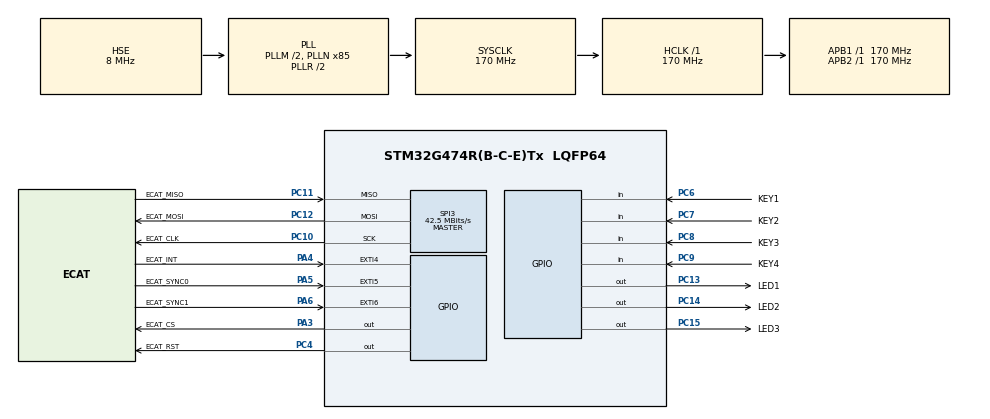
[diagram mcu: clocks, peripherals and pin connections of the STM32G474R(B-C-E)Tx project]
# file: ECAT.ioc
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Mcu.Family=STM32G4
Mcu.Name=STM32G474R(B-C-E)Tx
Mcu.Package=LQFP64
NVIC.EXTI4_IRQn=true\:2\:0\:true\:false\:true\:true\:true\:true
NVIC.EXTI9_5_IRQn=true\:2\:0\:true\:false\:true\:true\:true\:true
NVIC.PriorityGroup=NVIC_PRIORITYGROUP_2
NVIC.TIM7_DAC_IRQn=true\:1\:0\:true\:false\:true\:true\:true\:true
PA13.Mode=Serial_Wire
PA13.Signal=SYS_JTMS-SWDIO
PA14.Mode=Serial_Wire
PA14.Signal=SYS_JTCK-SWCLK
PA3.GPIO_Label=ECAT_CS
PA3.GPIO_PuPd=GPIO_PULLUP
PA3.GPIO_Speed=GPIO_SPEED_FREQ_VERY_HIGH
PA3.PinState=GPIO_PIN_SET
PA3.Signal=GPIO_Output
PA4.GPIO_Label=ECAT_INT
PA4.GPIO_ModeDefaultEXTI=GPIO_MODE_IT_FALLING
PA4.GPIO_PuPd=GPIO_PULLUP
PA4.Signal=GPXTI4
PA5.GPIO_Label=ECAT_SYNC0
PA5.GPIO_ModeDefaultEXTI=GPIO_MODE_IT_FALLING
PA5.GPIO_PuPd=GPIO_PULLUP
PA5.Signal=GPXTI5
PA6.GPIO_Label=ECAT_SYNC1
PA6.GPIO_ModeDefaultEXTI=GPIO_MODE_IT_FALLING
PA6.GPIO_PuPd=GPIO_PULLUP
PA6.Signal=GPXTI6
PC10.GPIO_Label=ECAT_CLK
PC10.GPIO_Speed=GPIO_SPEED_FREQ_VERY_HIGH
PC10.Mode=Full_Duplex_Master
PC10.Signal=SPI3_SCK
PC11.GPIO_Label=ECAT_MISO
PC11.GPIO_Speed=GPIO_SPEED_FREQ_VERY_HIGH
PC11.Mode=Full_Duplex_Master
PC11.Signal=SPI3_MISO
PC12.GPIO_Label=ECAT_MOSI
PC12.GPIO_Speed=GPIO_SPEED_FREQ_VERY_HIGH
PC12.Mode=Full_Duplex_Master
PC12.Signal=SPI3_MOSI
PC13.GPIO_Label=LED1
PC13.GPIO_ModeDefaultOutputPP=GPIO_MODE_OUTPUT_PP
PC13.Signal=GPIO_Output
PC14-OSC32_IN.GPIO_Label=LED2
PC14-OSC32_IN.Signal=GPIO_Output
PC15-OSC32_OUT.GPIO_Label=LED3
PC15-OSC32_OUT.Signal=GPIO_Output
PC4.GPIO_Label=ECAT_RST
PC4.GPIO_PuPd=GPIO_PULLUP
PC4.PinState=GPIO_PIN_SET
PC4.Signal=GPIO_Output
PC6.GPIO_Label=KEY1
PC6.GPIO_PuPd=GPIO_PULLUP
PC6.Signal=GPIO_Input
PC7.GPIO_Label=KEY2
PC7.GPIO_PuPd=GPIO_PULLUP
PC7.Signal=GPIO_Input
PC8.GPIO_Label=KEY3
PC8.GPIO_PuPd=GPIO_PULLUP
PC8.Signal=GPIO_Input
PC9.GPIO_Label=KEY4
PC9.GPIO_PuPd=GPIO_PULLUP
PC9.Signal=GPIO_Input
PF0-OSC_IN.Mode=HSE-External-Oscillator
PF0-OSC_IN.Signal=RCC_OSC_IN
PF1-OSC_OUT.Mode=HSE-External-Oscillator
PF1-OSC_OUT.Signal=RCC_OSC_OUT
ProjectManager.HeapSize=0x200
ProjectManager.StackSize=0x400
ProjectManager.TargetToolchain=MDK-ARM V5.32
RCC.ADC12Freq_Value=170000000
RCC.ADC345Freq_Value=170000000
RCC.AHBFreq_Value=170000000
RCC.APB1Freq_Value=170000000
RCC.APB1TimFreq_Value=170000000
RCC.APB2Freq_Value=170000000
RCC.APB2TimFreq_Value=170000000
RCC.CortexFreq_Value=170000000
RCC.EXTERNAL_CLOCK_VALUE=12288000
RCC.HCLKFreq_Value=170000000
RCC.HSE_VALUE=8000000
RCC.HSI48_VALUE=48000000
RCC.HSI_VALUE=16000000
RCC.LSE_VALUE=32768
RCC.PLLM=RCC_PLLM_DIV2
RCC.PLLN=85
RCC.PLLSourceVirtual=RCC_PLLSOURCE_HSE
RCC.SYSCLKFreq_VALUE=170000000
RCC.SYSCLKSource=RCC_SYSCLKSOURCE_PLLCLK
RCC.USBFreq_Value=170000000
RCC.VCOOutputFreq_Value=340000000
SPI3.BaudRatePrescaler=SPI_BAUDRATEPRESCALER_4
SPI3.CalculateBaudRate=42.5 MBits/s
SPI3.DataSize=SPI_DATASIZE_8BIT
SPI3.Direction=SPI_DIRECTION_2LINES
SPI3.Mode=SPI_MODE_MASTER
SPI3.VirtualType=VM_MASTER
TIM7.AutoReloadPreload=TIM_AUTORELOAD_PRELOAD_ENABLE
TIM7.PeriodNoDither=1000 - 1
TIM7.Prescaler=169
VP_SYS_VS_DBSignals.Mode=DisableDeadBatterySignals
VP_TIM7_VS_ClockSourceINT.Mode=Enable_Timer
board=custom

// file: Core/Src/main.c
/* USER CODE BEGIN Header */
/**
  ******************************************************************************
  * @file           : main.c
  * @brief          : Main program body
  ******************************************************************************
  * @attention
  *
  * Copyright (c) 2026 STMicroelectronics.
  * All rights reserved.
  *
  * This software is licensed under terms that can be found in the LICENSE file
  * in the root directory of this software component.
  * If no LICENSE file comes with this software, it is provided AS-IS.
  *
  ******************************************************************************
  */
/* USER CODE END Header */
#include "main.h"
#include "spi.h"
#include "tim.h"
#include "gpio.h"

/* USER CODE BEGIN Includes */
#include "applInterface.h"

/* USER CODE END Includes */

void SystemClock_Config(void);

int main(void)
{

  /* MCU Configuration--------------------------------------------------------*/

  /* Reset of all peripherals, Initializes the Flash interface and the Systick. */
  HAL_Init();

  /* Configure the system clock */
  SystemClock_Config();

  /* Initialize all configured peripherals */
  MX_GPIO_Init();
  MX_SPI3_Init();
  MX_TIM7_Init();
  /* USER CODE BEGIN 2 */
  /* Keep EtherCAT interrupts masked until the LAN9252 and SSC are ready. */
  HAL_NVIC_DisableIRQ(ECAT_INT_EXTI_IRQn);
  HAL_NVIC_DisableIRQ(EXTI9_5_IRQn);

  /* Hardware reset for the LAN9252 (RST is active low). */
  HAL_GPIO_WritePin(ECAT_RST_GPIO_Port, ECAT_RST_Pin, GPIO_PIN_RESET);
  HAL_Delay(10);
  HAL_GPIO_WritePin(ECAT_RST_GPIO_Port, ECAT_RST_Pin, GPIO_PIN_SET);
  HAL_Delay(100);

  if (HW_Init() != 0U)
  {
    Error_Handler();
  }

  if (MainInit() != 0U)
  {
    Error_Handler();
  }

  /* TIM7 supplies the 1 ms SSC time base. */
  if (HAL_TIM_Base_Start_IT(&htim7) != HAL_OK)
  {
    Error_Handler();
  }

  __HAL_GPIO_EXTI_CLEAR_IT(ECAT_INT_Pin);
  __HAL_GPIO_EXTI_CLEAR_IT(ECAT_SYNC0_Pin);
  __HAL_GPIO_EXTI_CLEAR_IT(ECAT_SYNC1_Pin);
  HAL_NVIC_EnableIRQ(ECAT_INT_EXTI_IRQn);
  HAL_NVIC_EnableIRQ(EXTI9_5_IRQn);

  /* USER CODE END 2 */

  /* Infinite loop */
  while (1)
  {

    /* USER CODE BEGIN 3 */
    MainLoop();
  }
  /* USER CODE END 3 */
}

void SystemClock_Config(void)
{
  RCC_OscInitTypeDef RCC_OscInitStruct = {0};
  RCC_ClkInitTypeDef RCC_ClkInitStruct = {0};

  /** Configure the main internal regulator output voltage
  */
  HAL_PWREx_ControlVoltageScaling(PWR_REGULATOR_VOLTAGE_SCALE1_BOOST);

  /** Initializes the RCC Oscillators according to the specified parameters
  * in the RCC_OscInitTypeDef structure.
  */
  RCC_OscInitStruct.OscillatorType = RCC_OSCILLATORTYPE_HSE;
  RCC_OscInitStruct.HSEState = RCC_HSE_ON;
  RCC_OscInitStruct.PLL.PLLState = RCC_PLL_ON;
  RCC_OscInitStruct.PLL.PLLSource = RCC_PLLSOURCE_HSE;
  RCC_OscInitStruct.PLL.PLLM = RCC_PLLM_DIV2;
  RCC_OscInitStruct.PLL.PLLN = 85;
  RCC_OscInitStruct.PLL.PLLP = RCC_PLLP_DIV2;
  RCC_OscInitStruct.PLL.PLLQ = RCC_PLLQ_DIV2;
  RCC_OscInitStruct.PLL.PLLR = RCC_PLLR_DIV2;
  if (HAL_RCC_OscConfig(&RCC_OscInitStruct) != HAL_OK)
  {
    Error_Handler();
  }

  /** Initializes the CPU, AHB and APB buses clocks
  */
  RCC_ClkInitStruct.ClockType = RCC_CLOCKTYPE_HCLK|RCC_CLOCKTYPE_SYSCLK
                              |RCC_CLOCKTYPE_PCLK1|RCC_CLOCKTYPE_PCLK2;
  RCC_ClkInitStruct.SYSCLKSource = RCC_SYSCLKSOURCE_PLLCLK;
  RCC_ClkInitStruct.AHBCLKDivider = RCC_SYSCLK_DIV1;
  RCC_ClkInitStruct.APB1CLKDivider = RCC_HCLK_DIV1;
  RCC_ClkInitStruct.APB2CLKDivider = RCC_HCLK_DIV1;

  if (HAL_RCC_ClockConfig(&RCC_ClkInitStruct, FLASH_LATENCY_4) != HAL_OK)
  {
    Error_Handler();
  }
}

void Error_Handler(void)
{
  __disable_irq();
  while (1)
  {
  }
}
